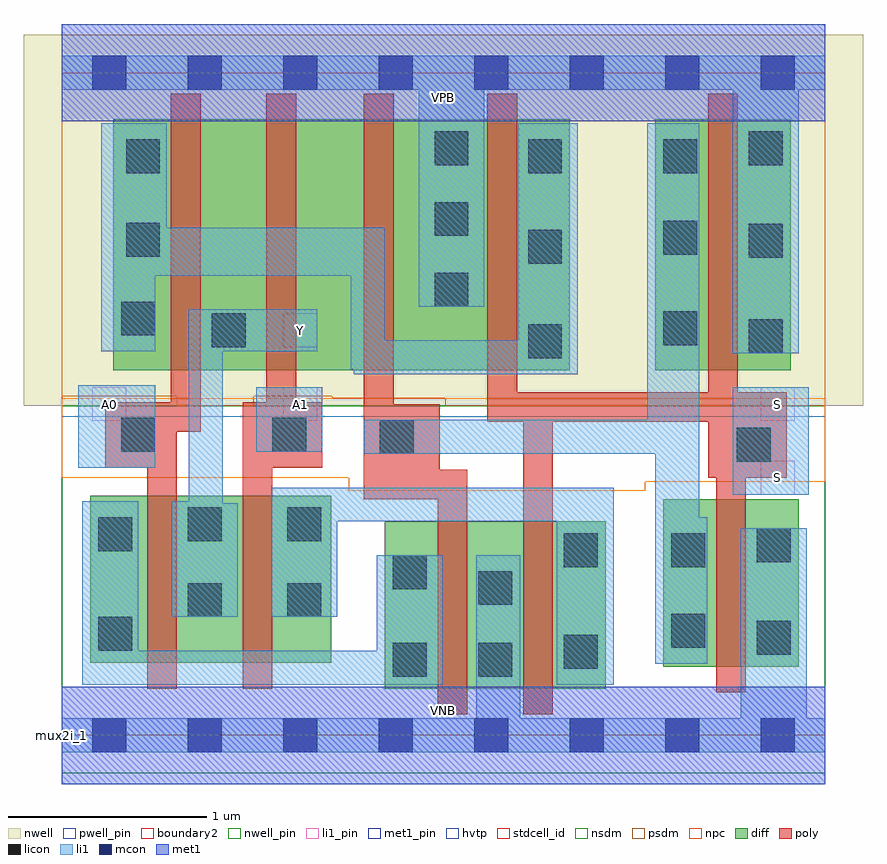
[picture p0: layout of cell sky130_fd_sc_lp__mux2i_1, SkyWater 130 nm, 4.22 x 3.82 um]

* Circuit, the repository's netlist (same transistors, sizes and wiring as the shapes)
* Copyright 2020 The SkyWater PDK Authors
*
* Licensed under the Apache License, Version 2.0 (the "License");
* you may not use this file except in compliance with the License.
* You may obtain a copy of the License at
*
*     https://www.apache.org/licenses/LICENSE-2.0
*
* Unless required by applicable law or agreed to in writing, software
* distributed under the License is distributed on an "AS IS" BASIS,
* WITHOUT WARRANTIES OR CONDITIONS OF ANY KIND, either express or implied.
* See the License for the specific language governing permissions and
* limitations under the License.
*
* SPDX-License-Identifier: Apache-2.0

.SUBCKT sky130_fd_sc_lp__mux2i_1 A0 A1 S VGND VNB VPB VPWR Y
*.PININFO A0:I A1:I S:I VGND:I VNB:I VPB:I VPWR:I Y:O
MMNA00 Y A0 smdNA0 VNB sky130_fd_pr__nfet_01v8 m=1 w=0.84U l=0.15U mult=1 sa=0.265
+ sb=0.265 sd=0.28 area=0.063 perim=1.14
MMNA01 smdNA0 Sb VGND VNB sky130_fd_pr__nfet_01v8 m=1 w=0.84U l=0.15U mult=1 sa=0.265
+ sb=0.265 sd=0.28 area=0.063 perim=1.14
MMNA10 Y A1 sndNA1 VNB sky130_fd_pr__nfet_01v8 m=1 w=0.84U l=0.15U mult=1 sa=0.265
+ sb=0.265 sd=0.28 area=0.063 perim=1.14
MMNA11 sndNA1 S VGND VNB sky130_fd_pr__nfet_01v8 m=1 w=0.84U l=0.15U mult=1 sa=0.265
+ sb=0.265 sd=0.28 area=0.063 perim=1.14
MMIN1 Sb S VGND VNB sky130_fd_pr__nfet_01v8 m=1 w=0.84U l=0.15U mult=1 sa=0.265
+ sb=0.265 sd=0.28 area=0.063 perim=1.14
MMPA00 VPWR S sndPS VPB sky130_fd_pr__pfet_01v8_hvt m=1 w=1.26U l=0.15U mult=1
+ sa=0.265 sb=0.265 sd=0.28 area=0.063 perim=1.14
MMPA01 sndPS A0 Y VPB sky130_fd_pr__pfet_01v8_hvt m=1 w=1.26U l=0.15U mult=1 sa=0.265
+ sb=0.265 sd=0.28 area=0.063 perim=1.14
MMPA10 VPWR Sb sndPSb VPB sky130_fd_pr__pfet_01v8_hvt m=1 w=1.26U l=0.15U mult=1
+ sa=0.265 sb=0.265 sd=0.28 area=0.063 perim=1.14
MMPA11 sndPSb A1 Y VPB sky130_fd_pr__pfet_01v8_hvt m=1 w=1.26U l=0.15U mult=1 sa=0.265
+ sb=0.265 sd=0.28 area=0.063 perim=1.14
MMIP1 Sb S VPWR VPB sky130_fd_pr__pfet_01v8_hvt m=1 w=1.26U l=0.15U mult=1 sa=0.265
+ sb=0.265 sd=0.28 area=0.063 perim=1.14
.ENDS sky130_fd_sc_lp__mux2i_1

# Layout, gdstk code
import gdstk
lib = gdstk.Library(unit=1e-6, precision=1e-09)
def R(c, l, rs):  # rectangles x0, y0, x1, y1
    for r in rs: c.add(gdstk.rectangle(r[:2], r[2:], *l))
def A(c, l, x, y, w, h, nx, ny, dx, dy):  # array of equal rectangles
    R(c, l, [(x+i*dx, y+j*dy, x+i*dx+w, y+j*dy+h) for i in range(nx) for j in range(ny)])
def P(c, l, *ps):  # polygons
    for p in ps: c.add(gdstk.Polygon(p, *l))
nwell_pin = (64, 16)
nwell = (64, 20)
diff = (65, 20)
poly = (66, 20)
licon = (66, 44)
li1_pin = (67, 16)
li1 = (67, 20)
mcon = (67, 44)
met1_pin = (68, 16)
met1 = (68, 20)
hvtp = (78, 44)
stdcell_id = (81, 4)
nsdm = (93, 44)
psdm = (94, 20)
npc = (95, 20)
pwell_pin = (122, 16)
boundary2 = (236, 0)

sky130_fd_sc_lp__mux2i_1 = lib.new_cell('sky130_fd_sc_lp__mux2i_1')
R(sky130_fd_sc_lp__mux2i_1, nwell_pin, [(0,3.085,3.84,3.33)])
R(sky130_fd_sc_lp__mux2i_1, nwell, [(-0.19,1.655,4.03,3.52)])
R(sky130_fd_sc_lp__mux2i_1, diff, [(1.625,0.235,2.735,1.075), (3.025,0.345,3.705,1.185), (0.145,0.365,1.355,1.205), (0.26,1.835,2.555,3.095), (2.985,1.835,3.665,3.095)])
P(sky130_fd_sc_lp__mux2i_1, poly, [(0.7,3.225),(0.55,3.225),(0.55,1.675),(0.22,1.675),(0.22,1.345),(0.43,1.345),(0.43,0.235),(0.58,0.235),(0.58,1.525),(0.7,1.525)],
  [(1.31,1.675),(1.18,1.675),(1.18,3.225),(1.03,3.225),(1.03,1.675),(0.91,1.675),(0.91,0.235),(1.06,0.235),(1.06,1.345),(1.31,1.345)],
  [(2.04,1.335),(1.9,1.335),(1.9,1.665),(1.67,1.665),(1.67,3.225),(1.52,3.225),(1.52,1.185),(1.89,1.185),(1.89,0.105),(2.04,0.105)],
  [(3.645,1.725),(3.4,1.725),(3.4,3.225),(3.25,3.225),(3.25,1.725),(2.29,1.725),(2.29,3.225),(2.14,3.225),(2.14,1.575),(2.32,1.575),(2.32,0.105),(2.47,0.105),(2.47,1.575),(3.25,1.575),(3.25,1.295),(3.29,1.295),(3.29,0.215),(3.44,0.215),(3.44,1.295),(3.645,1.295)])
A(sky130_fd_sc_lp__mux2i_1, licon, 1.875, 2.155, 0.17, 0.17, 1, 3, 0, 0.355)
R(sky130_fd_sc_lp__mux2i_1, licon, [(1.665,0.295,1.835,0.465), (2.095,0.295,2.265,0.465), (2.525,0.335,2.695,0.505), (3.495,0.405,3.665,0.575), (0.185,0.425,0.355,0.595), (3.065,0.44,3.235,0.61), (0.635,0.595,0.805,0.765), (1.135,0.595,1.305,0.765), (2.095,0.655,2.265,0.825), (1.665,0.735,1.835,0.905), (2.525,0.845,2.695,1.015), (3.065,0.845,3.235,1.015), (3.495,0.87,3.665,1.04), (0.185,0.925,0.355,1.095), (0.635,0.975,0.805,1.145), (1.135,0.975,1.305,1.145), (3.395,1.375,3.565,1.545), (1.6,1.415,1.77,1.585), (0.3,1.425,0.47,1.595), (1.06,1.425,1.23,1.595), (2.345,1.895,2.515,2.065), (3.455,1.92,3.625,2.09), (0.755,1.95,0.925,2.12), (3.025,1.96,3.195,2.13), (0.3,2.01,0.47,2.18), (2.345,2.37,2.515,2.54), (3.455,2.4,3.625,2.57), (0.325,2.405,0.495,2.575), (3.025,2.415,3.195,2.585), (0.325,2.825,0.495,2.995), (2.345,2.825,2.515,2.995), (3.025,2.825,3.195,2.995), (3.455,2.865,3.625,3.035)])
R(sky130_fd_sc_lp__mux2i_1, li1_pin, [(3.515,1.21,3.685,1.38), (0.155,1.58,0.325,1.75), (1.115,1.58,1.285,1.75), (3.515,1.58,3.685,1.75), (1.115,1.95,1.285,2.12)])
R(sky130_fd_sc_lp__mux2i_1, li1, [(3.375,1.21,3.755,1.75), (0.085,1.345,0.47,1.76), (0.98,1.425,1.31,1.75)])
P(sky130_fd_sc_lp__mux2i_1, li1, [(1.795,2.155),(1.795,3.245),(0,3.245),(0,3.415),(3.84,3.415),(3.84,3.245),(3.705,3.245),(3.705,1.92),(3.375,1.92),(3.375,3.245),(2.125,3.245),(2.125,2.155)],
  [(2.085,0.085),(2.085,0.905),(2.305,0.905),(2.305,0.085),(3.415,0.085),(3.415,1.04),(3.745,1.04),(3.745,0.085),(3.84,0.085),(3.84,-0.085),(0,-0.085),(0,0.085)],
  [(0.64,2.14),(1.285,2.14),(1.285,1.93),(0.81,1.93),(0.81,1.165),(0.885,1.165),(0.885,0.595),(0.555,0.595),(0.555,1.175),(0.64,1.175)],
  [(2.945,1.585),(2.945,3.075),(3.205,3.075),(3.205,1.095),(3.245,1.095),(3.245,0.36),(2.985,0.36),(2.985,1.415),(1.52,1.415),(1.52,1.585)],
  [(2.595,3.075),(2.295,3.075),(2.295,1.985),(1.625,1.985),(1.625,2.55),(0.53,2.55),(0.53,3.075),(0.2,3.075),(0.2,1.93),(0.47,1.93),(0.47,2.31),(1.455,2.31),(1.455,1.84),(1.47,1.84),(1.47,1.815),(2.595,1.815)],
  [(2.49,1.075),(1.385,1.075),(1.385,0.595),(1.055,0.595),(1.055,1.245),(2.775,1.245),(2.775,0.255),(2.49,0.255)],
  [(0.385,0.425),(1.585,0.425),(1.585,0.905),(1.915,0.905),(1.915,0.255),(0.105,0.255),(0.105,1.175),(0.385,1.175)])
A(sky130_fd_sc_lp__mux2i_1, mcon, 0.155, -0.085, 0.17, 0.17, 8, 2, 0.48, 3.33)
R(sky130_fd_sc_lp__mux2i_1, met1_pin, [(0,0,3.84,0.245), (0,3.085,3.84,3.33)])
R(sky130_fd_sc_lp__mux2i_1, met1, [(0,-0.245,3.84,0.245), (0,3.085,3.84,3.575)])
R(sky130_fd_sc_lp__mux2i_1, hvtp, [(0,1.6,3.84,3.33)])
R(sky130_fd_sc_lp__mux2i_1, stdcell_id, [(0,0,3.84,3.33)])
R(sky130_fd_sc_lp__mux2i_1, nsdm, [(0,-0.19,3.84,1.655)])
P(sky130_fd_sc_lp__mux2i_1, psdm, [(3.84,3.52),(0,3.52),(0,1.705),(0.58,1.705),(0.58,1.655),(0.965,1.655),(0.965,1.705),(1.36,1.705),(1.36,1.695),(1.93,1.695),(1.93,1.655),(3.84,1.655)])
P(sky130_fd_sc_lp__mux2i_1, npc, [(3.84,1.695),(0,1.695),(0,1.295),(1.445,1.295),(1.445,1.23),(2.935,1.23),(2.935,1.275),(3.84,1.275)])
R(sky130_fd_sc_lp__mux2i_1, pwell_pin, [(0,0,3.84,0.245)])
R(sky130_fd_sc_lp__mux2i_1, boundary2, [(0,0,3.84,3.33)])
sky130_fd_sc_lp__mux2i_1.add(gdstk.Label('VNB', (1.92,0.123), layer=64, texttype=59))
sky130_fd_sc_lp__mux2i_1.add(gdstk.Label('VPB', (1.92,3.208), layer=64, texttype=5))
sky130_fd_sc_lp__mux2i_1.add(gdstk.Label('mux2i_1', (0,0), layer=83, texttype=44))
sky130_fd_sc_lp__mux2i_1.add(gdstk.Label('VPWR', (1.92,3.208), layer=68, texttype=5))
sky130_fd_sc_lp__mux2i_1.add(gdstk.Label('VGND', (1.92,0.123), layer=68, texttype=5))
sky130_fd_sc_lp__mux2i_1.add(gdstk.Label('S', (3.6,1.295), layer=67, texttype=5))
sky130_fd_sc_lp__mux2i_1.add(gdstk.Label('S', (3.6,1.665), layer=67, texttype=5))
sky130_fd_sc_lp__mux2i_1.add(gdstk.Label('Y', (1.2,2.035), layer=67, texttype=5))
sky130_fd_sc_lp__mux2i_1.add(gdstk.Label('A0', (0.24,1.665), layer=67, texttype=5))
sky130_fd_sc_lp__mux2i_1.add(gdstk.Label('A1', (1.2,1.665), layer=67, texttype=5))

lib.write_gds('sky130_fd_sc_lp__mux2i_1.gds')
